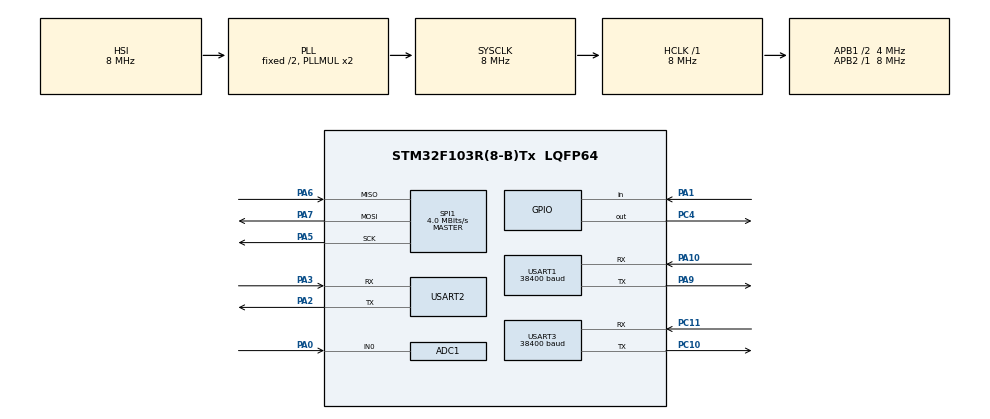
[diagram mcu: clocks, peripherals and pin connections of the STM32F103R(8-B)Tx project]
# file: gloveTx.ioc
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ADC1.Channel-0\#ChannelRegularConversion=ADC_CHANNEL_0
ADC1.NbrOfConversionFlag=1
ADC1.Rank-0\#ChannelRegularConversion=1
ADC1.SamplingTime-0\#ChannelRegularConversion=ADC_SAMPLETIME_1CYCLE_5
ADC1.master=1
Mcu.Family=STM32F1
Mcu.Name=STM32F103R(8-B)Tx
Mcu.Package=LQFP64
NVIC.PriorityGroup=NVIC_PRIORITYGROUP_4
PA0-WKUP.Signal=ADCx_IN0
PA1.Signal=GPIO_Input
PA10.Mode=Asynchronous
PA10.Signal=USART1_RX
PA13.Mode=Serial_Wire
PA13.Signal=SYS_JTMS-SWDIO
PA14.Mode=Serial_Wire
PA14.Signal=SYS_JTCK-SWCLK
PA2.Mode=Asynchronous
PA2.Signal=USART2_TX
PA3.Mode=Asynchronous
PA3.Signal=USART2_RX
PA5.Mode=Full_Duplex_Master
PA5.Signal=SPI1_SCK
PA6.Mode=Full_Duplex_Master
PA6.Signal=SPI1_MISO
PA7.Mode=Full_Duplex_Master
PA7.Signal=SPI1_MOSI
PA9.Mode=Asynchronous
PA9.Signal=USART1_TX
PC10.Mode=Asynchronous
PC10.Signal=USART3_TX
PC11.Mode=Asynchronous
PC11.Signal=USART3_RX
PC4.GPIO_ModeDefaultOutputPP=GPIO_MODE_OUTPUT_PP
PC4.GPIO_PuPd=GPIO_NOPULL
PC4.PinState=GPIO_PIN_RESET
PC4.Signal=GPIO_Output
PD0-OSC_IN.Mode=HSE-External-Oscillator
PD0-OSC_IN.Signal=RCC_OSC_IN
PD1-OSC_OUT.Mode=HSE-External-Oscillator
PD1-OSC_OUT.Signal=RCC_OSC_OUT
ProjectManager.HeapSize=0x200
ProjectManager.StackSize=0x400
ProjectManager.TargetToolchain=STM32CubeIDE
RCC.AHBFreq_Value=8000000
RCC.APB1CLKDivider=RCC_HCLK_DIV2
RCC.APB1Freq_Value=4000000
RCC.APB1TimFreq_Value=8000000
RCC.APB2Freq_Value=8000000
RCC.APB2TimFreq_Value=8000000
RCC.HCLKFreq_Value=8000000
RCC.RTCClockSelection=RCC_RTCCLKSOURCE_LSE
RCC.SYSCLKFreq_VALUE=8000000
RCC.SYSCLKSource=RCC_SYSCLKSOURCE_PLLCLK
RCC.USBFreq_Value=8000000
SH.ADCx_IN0.0=ADC1_IN0,IN0
SPI1.CalculateBaudRate=4.0 MBits/s
SPI1.Direction=SPI_DIRECTION_2LINES
SPI1.Mode=SPI_MODE_MASTER
SPI1.VirtualType=VM_MASTER
USART1.BaudRate=38400
USART1.VirtualMode=VM_ASYNC
USART2.VirtualMode=VM_ASYNC
USART3.BaudRate=38400
USART3.VirtualMode=VM_ASYNC
board=NUCLEO-F103RB

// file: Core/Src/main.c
/* USER CODE BEGIN Header */
/**
  ******************************************************************************
  * @file           : main.c
  * @brief          : Main program body
  ******************************************************************************
  * @attention
  *
  * Copyright (c) 2023 STMicroelectronics.
  * All rights reserved.
  *
  * This software is licensed under terms that can be found in the LICENSE file
  * in the root directory of this software component.
  * If no LICENSE file comes with this software, it is provided AS-IS.
  *
  ******************************************************************************
  */
/* USER CODE END Header */
#include "main.h"

/* USER CODE BEGIN Includes */
#include "icm20948.h"
#include "string.h"
/* USER CODE END Includes */

/* USER CODE BEGIN PTD */
int16_t P;		// variable for pitch angle declared globally
int16_t Q;		// variable for roll angle declared globally
double thetaHat_acc_rad;
double phiHat_acc_rad;
uint8_t i;
double output_voltage_1;
int32_t CH1_DC=0;
char buffer[16];
/* USER CODE END PTD */

ADC_HandleTypeDef hadc1;

SPI_HandleTypeDef hspi1;

UART_HandleTypeDef huart1;
UART_HandleTypeDef huart2;
UART_HandleTypeDef huart3;

void SystemClock_Config(void);
static void MX_GPIO_Init(void);
static void MX_ADC1_Init(void);
static void MX_SPI1_Init(void);
static void MX_USART1_UART_Init(void);
static void MX_USART2_UART_Init(void);
static void MX_USART3_UART_Init(void);
/* USER CODE BEGIN PFP */
int _write(int fd,char*ptr,int len)
	  	{
	  		HAL_UART_Transmit(&huart2,(uint8_t*)ptr,len,HAL_MAX_DELAY);
	  		return len;
	  	}
/* USER CODE END PFP */

/* USER CODE BEGIN 0 */
static void cs_high();
static void cs_low();
void userbank_select(uint8_t ub);
void icm20948_read(userbank ub,uint8_t reg,uint8_t *data);
void icm20948_write(userbank ub,uint8_t reg,uint8_t data);
void icm20948_init();
void icm20948_accel_data(icm_20948_data * data);
void icm20948_gyro_data(icm_20948_data * data);
/* USER CODE END 0 */

int main(void)
{
  /* USER CODE BEGIN 1 */
	icm_20948_data accel_data; //variable of type icm_20948_data defined for acquiring accelerometer data
	icm_20948_data gyro_data;  //variable of type icm_20948_data defined for acquiring gyroscope data
  /* USER CODE END 1 */

  /* MCU Configuration--------------------------------------------------------*/

  /* Reset of all peripherals, Initializes the Flash interface and the Systick. */
  HAL_Init();

  /* Configure the system clock */
  SystemClock_Config();

  /* Initialize all configured peripherals */
  MX_GPIO_Init();
  MX_ADC1_Init();
  MX_SPI1_Init();
  MX_USART1_UART_Init();
  MX_USART2_UART_Init();
  MX_USART3_UART_Init();
  /* USER CODE BEGIN 2 */
  icm20948_init(); //Initialization function for ICM20948 called to initialise the IMU
  /* USER CODE END 2 */

  /* Infinite loop */
  /* USER CODE BEGIN WHILE */
  while (1)
  {
  /*Functions to acquire accelerometer readings and gryoscope readings called in while loop*/
	icm20948_accel_data(&accel_data);
	icm20948_gyro_data(&gyro_data);
	i= HAL_GPIO_ReadPin(GPIOA,GPIO_PIN_1);
	//printf("%x\r\n",i);
    i = HAL_GPIO_ReadPin(GPIOA, GPIO_PIN_1);

    if (i == 1)
    {
        // Send: S" "B" "D
        sprintf(buffer, "S%dB%dD\r\n", (int)Q, P);
        HAL_UART_Transmit(&huart1, (uint8_t*)buffer, strlen(buffer), 100);
    }

    if (i == 0)
    {
        P = 0;
        Q = 0;

        sprintf(buffer, "S%dB%dD\r\n", (int)Q, P);
        HAL_UART_Transmit(&huart1, (uint8_t*)buffer, strlen(buffer), 100);

        printf("%d\r\n", P);
    }
    /* USER CODE END WHILE */

  }
}

void SystemClock_Config(void)
{
  RCC_OscInitTypeDef RCC_OscInitStruct = {0};
  RCC_ClkInitTypeDef RCC_ClkInitStruct = {0};
  RCC_PeriphCLKInitTypeDef PeriphClkInit = {0};

  /** Initializes the RCC Oscillators according to the specified parameters
  * in the RCC_OscInitTypeDef structure.
  */
  RCC_OscInitStruct.OscillatorType = RCC_OSCILLATORTYPE_HSI;
  RCC_OscInitStruct.HSIState = RCC_HSI_ON;
  RCC_OscInitStruct.HSICalibrationValue = RCC_HSICALIBRATION_DEFAULT;
  RCC_OscInitStruct.PLL.PLLState = RCC_PLL_ON;
  RCC_OscInitStruct.PLL.PLLSource = RCC_PLLSOURCE_HSI_DIV2;
  RCC_OscInitStruct.PLL.PLLMUL = RCC_PLL_MUL2;
  if (HAL_RCC_OscConfig(&RCC_OscInitStruct) != HAL_OK)
  {
    Error_Handler();
  }

  /** Initializes the CPU, AHB and APB buses clocks
  */
  RCC_ClkInitStruct.ClockType = RCC_CLOCKTYPE_HCLK|RCC_CLOCKTYPE_SYSCLK
                              |RCC_CLOCKTYPE_PCLK1|RCC_CLOCKTYPE_PCLK2;
  RCC_ClkInitStruct.SYSCLKSource = RCC_SYSCLKSOURCE_PLLCLK;
  RCC_ClkInitStruct.AHBCLKDivider = RCC_SYSCLK_DIV1;
  RCC_ClkInitStruct.APB1CLKDivider = RCC_HCLK_DIV2;
  RCC_ClkInitStruct.APB2CLKDivider = RCC_HCLK_DIV1;

  if (HAL_RCC_ClockConfig(&RCC_ClkInitStruct, FLASH_LATENCY_0) != HAL_OK)
  {
    Error_Handler();
  }
  PeriphClkInit.PeriphClockSelection = RCC_PERIPHCLK_ADC;
  PeriphClkInit.AdcClockSelection = RCC_ADCPCLK2_DIV2;
  if (HAL_RCCEx_PeriphCLKConfig(&PeriphClkInit) != HAL_OK)
  {
    Error_Handler();
  }
}

static void MX_ADC1_Init(void)
{

  ADC_ChannelConfTypeDef sConfig = {0};

  /** Common config
  */
  hadc1.Instance = ADC1;
  hadc1.Init.ScanConvMode = ADC_SCAN_DISABLE;
  hadc1.Init.ContinuousConvMode = DISABLE;
  hadc1.Init.DiscontinuousConvMode = DISABLE;
  hadc1.Init.ExternalTrigConv = ADC_SOFTWARE_START;
  hadc1.Init.DataAlign = ADC_DATAALIGN_RIGHT;
  hadc1.Init.NbrOfConversion = 1;
  if (HAL_ADC_Init(&hadc1) != HAL_OK)
  {
    Error_Handler();
  }

  /** Configure Regular Channel
  */
  sConfig.Channel = ADC_CHANNEL_0;
  sConfig.Rank = ADC_REGULAR_RANK_1;
  sConfig.SamplingTime = ADC_SAMPLETIME_1CYCLE_5;
  if (HAL_ADC_ConfigChannel(&hadc1, &sConfig) != HAL_OK)
  {
    Error_Handler();
  }

}

static void MX_SPI1_Init(void)
{

  /* SPI1 parameter configuration*/
  hspi1.Instance = SPI1;
  hspi1.Init.Mode = SPI_MODE_MASTER;
  hspi1.Init.Direction = SPI_DIRECTION_2LINES;
  hspi1.Init.DataSize = SPI_DATASIZE_8BIT;
  hspi1.Init.CLKPolarity = SPI_POLARITY_LOW;
  hspi1.Init.CLKPhase = SPI_PHASE_1EDGE;
  hspi1.Init.NSS = SPI_NSS_SOFT;
  hspi1.Init.BaudRatePrescaler = SPI_BAUDRATEPRESCALER_2;
  hspi1.Init.FirstBit = SPI_FIRSTBIT_MSB;
  hspi1.Init.TIMode = SPI_TIMODE_DISABLE;
  hspi1.Init.CRCCalculation = SPI_CRCCALCULATION_DISABLE;
  hspi1.Init.CRCPolynomial = 10;
  if (HAL_SPI_Init(&hspi1) != HAL_OK)
  {
    Error_Handler();
  }

}

static void MX_USART1_UART_Init(void)
{

  huart1.Instance = USART1;
  huart1.Init.BaudRate = 38400;
  huart1.Init.WordLength = UART_WORDLENGTH_8B;
  huart1.Init.StopBits = UART_STOPBITS_1;
  huart1.Init.Parity = UART_PARITY_NONE;
  huart1.Init.Mode = UART_MODE_TX_RX;
  huart1.Init.HwFlowCtl = UART_HWCONTROL_NONE;
  huart1.Init.OverSampling = UART_OVERSAMPLING_16;
  if (HAL_UART_Init(&huart1) != HAL_OK)
  {
    Error_Handler();
  }

}

static void MX_USART2_UART_Init(void)
{

  huart2.Instance = USART2;
  huart2.Init.BaudRate = 115200;
  huart2.Init.WordLength = UART_WORDLENGTH_8B;
  huart2.Init.StopBits = UART_STOPBITS_1;
  huart2.Init.Parity = UART_PARITY_NONE;
  huart2.Init.Mode = UART_MODE_TX_RX;
  huart2.Init.HwFlowCtl = UART_HWCONTROL_NONE;
  huart2.Init.OverSampling = UART_OVERSAMPLING_16;
  if (HAL_UART_Init(&huart2) != HAL_OK)
  {
    Error_Handler();
  }

}

static void MX_USART3_UART_Init(void)
{

  huart3.Instance = USART3;
  huart3.Init.BaudRate = 38400;
  huart3.Init.WordLength = UART_WORDLENGTH_8B;
  huart3.Init.StopBits = UART_STOPBITS_1;
  huart3.Init.Parity = UART_PARITY_NONE;
  huart3.Init.Mode = UART_MODE_TX_RX;
  huart3.Init.HwFlowCtl = UART_HWCONTROL_NONE;
  huart3.Init.OverSampling = UART_OVERSAMPLING_16;
  if (HAL_UART_Init(&huart3) != HAL_OK)
  {
    Error_Handler();
  }

}

static void MX_GPIO_Init(void)
{
  GPIO_InitTypeDef GPIO_InitStruct = {0};

  /* GPIO Ports Clock Enable */
  __HAL_RCC_GPIOD_CLK_ENABLE();
  __HAL_RCC_GPIOA_CLK_ENABLE();
  __HAL_RCC_GPIOC_CLK_ENABLE();

  /*Configure GPIO pin Output Level */
  HAL_GPIO_WritePin(GPIOC, GPIO_PIN_4, GPIO_PIN_RESET);

  /*Configure GPIO pin : PA1 */
  GPIO_InitStruct.Pin = GPIO_PIN_1;
  GPIO_InitStruct.Mode = GPIO_MODE_INPUT;
  GPIO_InitStruct.Pull = GPIO_NOPULL;
  HAL_GPIO_Init(GPIOA, &GPIO_InitStruct);

  /*Configure GPIO pin : PC4 */
  GPIO_InitStruct.Pin = GPIO_PIN_4;
  GPIO_InitStruct.Mode = GPIO_MODE_OUTPUT_PP;
  GPIO_InitStruct.Pull = GPIO_NOPULL;
  GPIO_InitStruct.Speed = GPIO_SPEED_FREQ_LOW;
  HAL_GPIO_Init(GPIOC, &GPIO_InitStruct);

}

/* USER CODE BEGIN 4 */
/*Function to SET the GPIO_OUT pin connected to CS pin of icm20948*/
static void cs_high()
{
	HAL_GPIO_WritePin(ICM20948_SPI_CS_PIN_PORT, ICM20948_SPI_CS_PIN_NUMBER, 1);
}

/*Function to RESET the GPIO_OUT pin connected to CS pin of icm20948*/
static void cs_low()
{
	HAL_GPIO_WritePin(ICM20948_SPI_CS_PIN_PORT, ICM20948_SPI_CS_PIN_NUMBER, 0);
}

/*Function to select the user bank to access specify icm20948 register*/
void userbank_select(uint8_t ub)
{
	cs_low(); //cs pin pulled to low state to start SPI Tx/Rx
	uint8_t reg = 0x7f;//USER_BANK_SELECT_REGISTER ADDRESS
	uint8_t user_bank = ub;//SELECTING USER BAK 0
	HAL_SPI_Transmit(ICM20948_SPI, &reg, 1, 100); //SPI transmit function called to write the userbank register
	HAL_SPI_Transmit(ICM20948_SPI, &user_bank, 1, 100);//SPI transmit function called to write the userbank select register
	cs_high();//cs pin pulled to high state to stop SPI Tx/Rx
}

//Function to read specific icm20948 register values and print using USART on serial monitor
void icm20948_read(userbank ub,uint8_t reg, uint8_t * data)
{
	userbank_select(ub); //userbank select function called to select a specific user bank
	cs_low();//cs pin pulled to low state to start SPI Tx/Rx
	reg = READ |reg; // address of the register to be accessed is ORed with 0x80 to read from the register
	uint8_t reg_val; // variable declared to store the values of the register accessed
	HAL_SPI_Transmit(ICM20948_SPI, &reg, 1, 100);//SPI transmit function called to with address of the register from which vales are to be read
	HAL_SPI_Receive(ICM20948_SPI, &reg_val, 1, 100);//SPI receive function called to read the selected register
	*data = reg_val;//pointer initialized acquire data globally from the icm20948_read function
	cs_high();//cs pin pulled to high state to stop SPI Tx/Rx
	//printf("Address:0x%x Register value: 0x%x \n\r",reg,reg_val);
}

//Function to write specific icm20948 register values and print using USART on serial monitor
void icm20948_write(userbank ub,uint8_t reg,uint8_t reg_val)
{
	userbank_select(ub);//userbank select function called to select a specific user bank
	cs_low();//cs pin pulled to low state to start SPI Tx/Rx
	reg = WRITE |reg;// address of the register to be accessed is ORed with 0x00 to write to the register
	HAL_SPI_Transmit(ICM20948_SPI, &reg, 1, 100);//SPI transmit function called to with address of the register to which data is to be passed
	HAL_SPI_Transmit(ICM20948_SPI, &reg_val, 1, 100);//SPI transmit function called to with data that is to be transmitted to the register
	cs_high();//cs pin pulled to high state to stop SPI Tx/Rx
	printf("Address:0x%x Register value: 0x%x \n\r\r",reg,reg_val);//values written to the register is printed using USART

}
void icm20948_init()
{
	//uint8_t temp_data;
	icm20948_write(ub_0,B0_PWR_MGMT_1,0xc1); //power management 1 register written to reset all the registers of the icm20948 and select clock
	icm20948_write(ub_0,B0_PWR_MGMT_1,0x01); ////power management 1 register written to wake up icm20948 and select clock
	icm20948_write(ub_0,B0_LP_CONFIG,0x30); //control Duty cycle mode of aceel,gyro and select SPI over I2C
	icm20948_write(ub_0,B0_PWR_MGMT_2,0x00);//enable accelerometer and gyroscope
	icm20948_write(ub_2,B2_ODR_ALIGN_EN,0x01);//ODR register set to sample data from gyroscope and accelerometer simultaneously

	icm20948_write(ub_2,B2_GYRO_SMPLRT_DIV,0x00);//sample rate of gyroscope set to maximum

	icm20948_write(ub_2,B2_GYRO_CONFIG_1,_250dps|0x01);//scale range of gyroscope set to 250dps
	icm20948_write(ub_2,B2_GYRO_CONFIG_2,0x00); //set averaging of the gryscope reading
	icm20948_write(ub_2,B2_ACCEL_SMPLRT_DIV_1,0x00); //set sample rate for accelerometer to maximum 11.2Ghz
	icm20948_write(ub_2,B2_ACCEL_SMPLRT_DIV_2,0x00);//set sample rate for accelerometer to maximum 11.2Ghz

	icm20948_write(ub_2,B2_ACCEL_CONFIG_1,_2g|0x01);//set the scale range of accelerometer to 2g

	//icm20948_read(ub_0,B0_USER_CTRL,&temp_data);
	//temp_data |=0x10;
	icm20948_write(ub_0,B0_USER_CTRL,0xd0);//register to enable disable DMP and FIFO
	//icm20948_read(ub_0,B0_USER_CTRL,&temp_data);
	//userbank_select(ub_0);

}

void icm20948_accel_data(icm_20948_data * data)  //function to read data from the accelerometer

{
	uint8_t data_accel_rx[6];//define an array to store high and low bytes from accelerometer
	icm20948_read(ub_0,B0_ACCEL_XOUT_H,&data_accel_rx[0]); //Read high byte of accelerometer from X axis
	icm20948_read(ub_0,B0_ACCEL_YOUT_H,&data_accel_rx[2]); //Read high byte of accelerometer from Y axis
	icm20948_read(ub_0,B0_ACCEL_ZOUT_H,&data_accel_rx[4]); //Read high byte of accelerometer from Z axis
	icm20948_read(ub_0,B0_ACCEL_XOUT_L,&data_accel_rx[1]); //Read Low byte of accelerometer from X axis
	icm20948_read(ub_0,B0_ACCEL_YOUT_L,&data_accel_rx[3]); //Read Low byte of accelerometer from Y axis
	icm20948_read(ub_0,B0_ACCEL_ZOUT_L,&data_accel_rx[5]); //Read Low byte of accelerometer from Z axis
	data->x_accel = (int16_t)((data_accel_rx[0]<<8)|(data_accel_rx[1]));//combine the 2 byte data acquired from accelerometer at X axis
	data->y_accel = (int16_t)((data_accel_rx[2]<<8)|(data_accel_rx[3]));//combine the 2 byte data acquired from accelerometer at Y axis
	data->z_accel = (int16_t)((data_accel_rx[4]<<8)|(data_accel_rx[5]));//combine the 2 byte data acquired from accelerometer at Z axis

	//convert the RAW DATA value to m/s^2 in terms of g
	data->x_accel = (data->x_accel/65536)*4.0*9.8;
	data->y_accel = (data->y_accel/65536)*4.0*9.8;
	data->z_accel = (data->z_accel/65536)*4.0*9.8;

	//print acceleration in 3-axis
	//printf("Accelerometer : %.2f  %.2f 	%.2f \n\r",data->x_accel,data->y_accel,data->z_accel);

	//estimate angles using accelerometer measurements
	  phiHat_acc_rad = atanf(data->y_accel / data->z_accel)*(180/3.14); //Roll angle
	  thetaHat_acc_rad = asinf(data->x_accel )*(180/3.14); //Pitch angle

	 /*Print translational acceleration of 3-axes from accelerometer*/
	//printf("Linear Accelerations : %.2f  %.2f	%.2f\n\r",data->x_accel,data->y_accel,data->z_accel);

}

void icm20948_gyro_data(icm_20948_data * data)

{
	uint8_t data_gyro_rx[6];//define an array to store high and low bytes from gyroscope
	icm20948_read(ub_0,B0_GYRO_XOUT_H,&data_gyro_rx[0]);//Read high byte of gyroscope from X axis
	icm20948_read(ub_0,B0_GYRO_YOUT_H,&data_gyro_rx[2]);//Read high byte of gyroscope from Y axis
	icm20948_read(ub_0,B0_GYRO_ZOUT_H,&data_gyro_rx[4]);//Read high byte of gyroscope from Z axis
	icm20948_read(ub_0,B0_GYRO_XOUT_L,&data_gyro_rx[1]);//Read low byte of gyroscope from X axis
	icm20948_read(ub_0,B0_GYRO_YOUT_L,&data_gyro_rx[3]);//Read low byte of gyroscope from Y axis
	icm20948_read(ub_0,B0_GYRO_ZOUT_L,&data_gyro_rx[5]);//Read low byte of gyroscope from Z axis
	data->x_gyro = (int16_t)((data_gyro_rx[0]<<8)|(data_gyro_rx[1]));//combine the 2 byte data acquired from gyroscope at X axis
	data->y_gyro = (int16_t)((data_gyro_rx[2]<<8)|(data_gyro_rx[3]));//combine the 2 byte data acquired from gyroscope at Y axis
	data->z_gyro = (int16_t)((data_gyro_rx[4]<<8)|(data_gyro_rx[5]));//combine the 2 byte data acquired from gyroscope at Z axis

	/*convert the RAW DATA value to rad/s from dps*/
	data->x_gyro = ((data->x_gyro)/131)*0.01744444f;
	data->y_gyro = ((data->y_gyro)/131)*0.01744444f;
	data->z_gyro = ((data->z_gyro)/131)*0.01744444f;

	/*transform body rates to euler rates*/
	double phiHat_rad = 0.0f; //variable declared to acquire roll angle
	double thetaHat_rad = 0.0f; //variable declared to acquire pitch angle
	double a=0.0f,b=0.0f; //variables to take mean of the euler angle value

	/*Acquire the derivatives of the euler angles from the gryoscope*/
	double phiDot_rps = data->x_gyro + tanf(thetaHat_rad) * (sinf(phiHat_rad) * data->y_gyro + cosf(phiHat_rad) * data->z_gyro);
	double thetaDot_rps = cosf(phiHat_rad) * data->y_gyro - sinf(phiHat_rad) * data->z_gyro;

	/*combine accelerometer estimates with integral of gyroscope readings*/
	for(int i=0;i<100;i++)
	{
	phiHat_rad = COMP_FILT_ALPHA * phiHat_acc_rad + (1.0f - COMP_FILT_ALPHA) * (phiHat_rad + (SAMPLE_TIME_MS_USB / 1000.0f) * phiDot_rps);

	thetaHat_rad = COMP_FILT_ALPHA * thetaHat_acc_rad + (1.0f - COMP_FILT_ALPHA) * (thetaHat_rad + (SAMPLE_TIME_MS_USB / 1000.0f) * thetaDot_rps);
	a=a+phiHat_rad;
	b=b+thetaHat_rad;
	}

	/*Variables defined to print pitch and roll*/
	P = (int16_t)(a/100);
	Q = (int16_t)(b/100);

	/*Print Angular velocity of 3-axes from gyroscope*/
	//printf("Angular Velocity : %.2f  %.2f	%.2f \n\r",data->x_gyro,data->y_gyro,data->z_gyro);

	/*Print Euler angles from complementary filter*/
	//printf("roll : %.2f pitch: %.2f \n\n\r\r",P,Q);

}
/* USER CODE END 4 */

void Error_Handler(void)
{
  __disable_irq();
  while (1)
  {
  }
}
